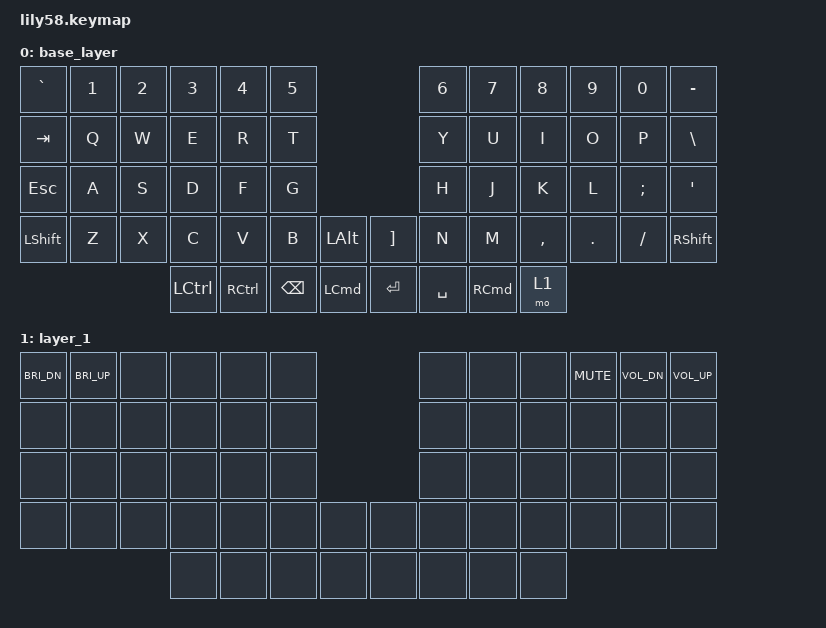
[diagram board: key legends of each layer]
#include <behaviors.dtsi>
#include <dt-bindings/zmk/keys.h>

/ {
    keymap {
        compatible = "zmk,keymap";

        base_layer {
            bindings = <
                &kp GRAVE  &kp N1  &kp N2  &kp N3     &kp N4     &kp N5                          &kp N6     &kp N7    &kp N8     &kp N9   &kp N0    &kp MINUS
                &kp TAB    &kp Q   &kp W   &kp E      &kp R      &kp T                           &kp Y      &kp U     &kp I      &kp O    &kp P     &kp BSLH
                &kp ESC    &kp A   &kp S   &kp D      &kp F      &kp G                           &kp H      &kp J     &kp K      &kp L    &kp SEMI  &kp SQT
                &kp LSHFT  &kp Z   &kp X   &kp C      &kp V      &kp B     &kp LALT    &kp RBKT  &kp N      &kp M     &kp COMMA  &kp DOT  &kp FSLH  &kp RSHFT
                                           &kp LCTRL  &kp RCTRL  &kp BSPC  &kp LCMD    &kp RET   &kp SPACE  &kp RCMD  &mo 1
            >;
        };

        layer_1 {
            bindings = <
                &kp C_BRI_DN  &kp C_BRI_UP  &none   &none  &none  &none                         &none  &none  &none  &kp C_MUTE  &kp C_VOL_DN  &kp C_VOL_UP
                &none         &none         &none   &none  &none  &none                         &none  &none  &none  &none       &none         &none
                &none         &none         &none   &none  &none  &none                         &none  &none  &none  &none       &none         &none
                &none         &none         &none   &none  &none  &none  &none    &none  &none  &none  &none  &none  &none       &none
                                                    &none  &none  &none  &none    &none  &none  &none  &none
            >;
        };
    };
};
